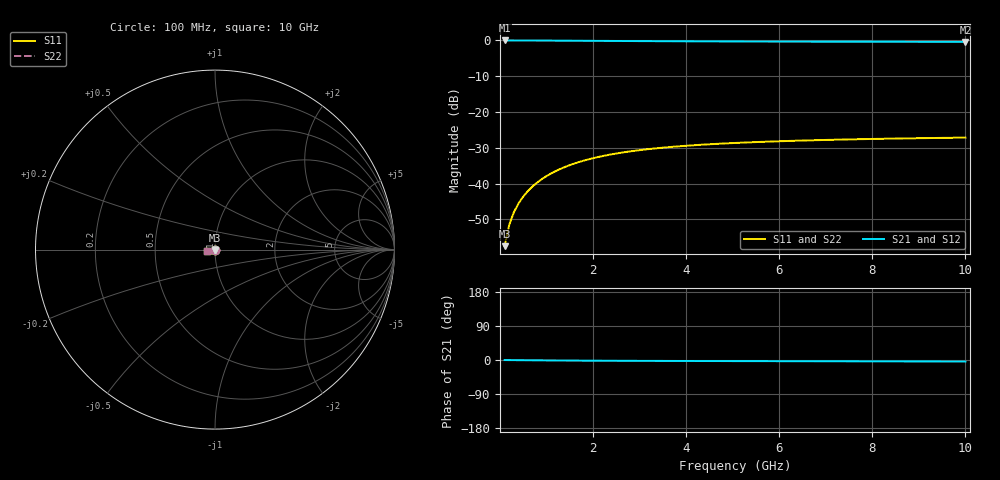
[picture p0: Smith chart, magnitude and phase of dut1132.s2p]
! Touchstone file exported from HFSS 2024.1.0
!  File:  C:/UserFiles/LocalFiles/RDL_TSV_Batchsim/temp_TSV1_1132_1780070165.aedt
!  Generated:  12:00:48 AM May 30, 2026
!  Design:  TSV1
!  Project:  temp_TSV1_1132_1780070165
!  Setup:  Setup1
!  Solution:  Sweep
! Variables:
!  dtsv = 14.65um
!  hbump = 3um
!  htsv = 58.58um
!  lrdl = 252.1521522um
!  p = 40
!  p1 = 53.54um
!  t = 500um
!  trdl = 3um
!  wrdl = 24.89489489um
# GHz S MA R 50.000000
! Terminal data exported
! Port[1] = TSV22_T1
! Port[2] = TSV22_T2
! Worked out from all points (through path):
!   100 points, 100 MHz to 10 GHz, reference 50 ohm
!   highest |S21| = 0.00 dB at 100 MHz (marker M1); lowest = -0.4 dB at 10 GHz (marker M2)
!   lowest |S11| = -57.5 dB at 100 MHz (marker M3), VSWR 1.00, Z = 50 - j0.134 ohm
!   |S11| at or under -10 dB: start of sweep to end of sweep
!   |S22| runs from -57.5 to -27.1 dB; largest |S21 - S12| = 4.2e-15
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0.1  0.001337 -88.9  0.9999 -0.1  0.9999 -0.1  0.001337 -88.9
! Gamma 0 0 0 0
! Port Impedance 50 0 50 0
0.2  0.002667 -92.2  0.9997 -0.2  0.9997 -0.2  0.002667 -92.2
0.3  0.003989 -94.6  0.9995 -0.3  0.9995 -0.3  0.003989 -94.6
0.4  0.005301 -96.6  0.9992 -0.4  0.9992 -0.4  0.005301 -96.6
0.5  0.006597 -98.6  0.9988 -0.6  0.9988 -0.6  0.006597 -98.6
0.6  0.007874 -100.5  0.9983 -0.7  0.9983 -0.7  0.007874 -100.5
0.7  0.00913 -102.3  0.9978 -0.8  0.9978 -0.8  0.00913 -102.3
0.8  0.01036 -104.1  0.9972 -0.9  0.9972 -0.9  0.01036 -104.1
0.9  0.01157 -105.9  0.9965 -1.0  0.9965 -1.0  0.01157 -105.9
1.1  0.01388 -109.3  0.9951 -1.1  0.9951 -1.1  0.01388 -109.3
1.4  0.01712 -114.1  0.9927 -1.4  0.9927 -1.4  0.01712 -114.1
1.6  0.0191 -117.1  0.991 -1.5  0.991 -1.5  0.0191 -117.1
1.8  0.02094 -119.9  0.9893 -1.7  0.9893 -1.7  0.02094 -119.9
2.1  0.02345 -123.9  0.9867 -1.9  0.9867 -1.9  0.02345 -123.9
2.5  0.02634 -128.7  0.9834 -2.1  0.9834 -2.1  0.02634 -128.7
2.9  0.02879 -132.9  0.9803 -2.2  0.9803 -2.2  0.02879 -132.9
3.4  0.03133 -137.5  0.9769 -2.4  0.9769 -2.4  0.03133 -137.5
4.2  0.03448 -143.6  0.9722 -2.7  0.9722 -2.7  0.03448 -143.6
5.1  0.03709 -149.1  0.968 -2.9  0.968 -2.9  0.03709 -149.1
6.7  0.04029 -156.6  0.9627 -3.3  0.9627 -3.3  0.04029 -156.6
8.4  0.0425 -162.7  0.959 -3.7  0.959 -3.7  0.0425 -162.7
10  0.04391 -167.4  0.9565 -4.0  0.9565 -4.0  0.04391 -167.4
